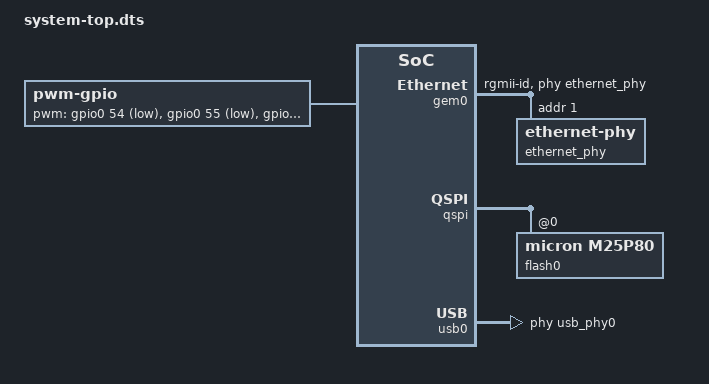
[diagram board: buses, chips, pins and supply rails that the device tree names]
/dts-v1/;
/include/ "system-conf.dtsi"
#include <dt-bindings/gpio/gpio.h>
/ {
	pwm: pwm@0 {
		compatible = "pwm-gpio";
		#pwm-cells = <3>;
		pwm-gpios =
			<&gpio0 54 GPIO_ACTIVE_LOW>,
			<&gpio0 55 GPIO_ACTIVE_LOW>,
			<&gpio0 56 GPIO_ACTIVE_LOW>,
			<&gpio0 57 GPIO_ACTIVE_LOW>,
			<&gpio0 58 GPIO_ACTIVE_LOW>,
			<&gpio0 59 GPIO_ACTIVE_LOW>;
	};

	usb_phy0: usb_phy@0 {
		compatible = "ulpi-phy";
		#phy-cells = <0>;
		reg = <0xe0002000 0x1000>;
		view-port = <0x0170>;
		drv-vbus;
	};
};

&amba {
	u-boot,dm-pre-reloc;
};

&amba_pl {
	encoder_0: digilent_encoder {
		compatible = "dglnt,drm-encoder";
		dglnt,edid-i2c = <&i2c0>;
	};

	xilinx_drm {
		compatible = "xlnx,drm";
		xlnx,vtc = <&v_tc_0>;
		xlnx,connector-type = "HDMIA";
		xlnx,encoder-slave = <&encoder_0>;
		clocks = <&axi_dynclk_0>;
		planes {
			xlnx,pixel-format = "xrgb8888";
			plane0 {
				dmas = <&axi_vdma_0 0>;
				dma-names = "dma";
			};
		};
	};
};

&axi_dynclk_0 {
	compatible = "digilent,axi-dynclk";
	#clock-cells = <0>;
	clocks = <&clkc 15>;
};

&gem0 {
	phy-mode = "rgmii-id";
	phy-handle = <&ethernet_phy>;

	ethernet_phy: ethernet-phy@0 { /* rtl8211e-vl */
		reg = <1>;
	};
};

&qspi {
	flash0: flash@0 {
		compatible = "micron,m25p80", "s25fl128s";
	};
};

&usb0 {
	usb-phy = <&usb_phy0>;
	/delete-property/ usb-reset;
};

&v_tc_0 {
	compatible = "xlnx,v-tc-5.01.a";
};

&xadc_wiz_0 {
	compatible = "xlnx,axi-xadc-1.00.a";
	clocks = <&clkc 12>;
	xlnx,channels {
		#address-cells = <1>;
		#size-cells = <0>;
		channel@0 { /* vaux0 */
			reg = <1>;
		};
		channel@1 {
			reg = <2>;
		};
		channel@5 {
			reg = <6>;
		};
		channel@6 {
			reg = <7>;
		};
		channel@8 {
			reg = <9>;
		};
		channel@9 {
			reg = <10>;
		};
		channel@12 {
			reg = <13>;
		};
		channel@13 {
			reg = <14>;
		};
		channel@15 {
			reg = <16>;
		};
	};
};

